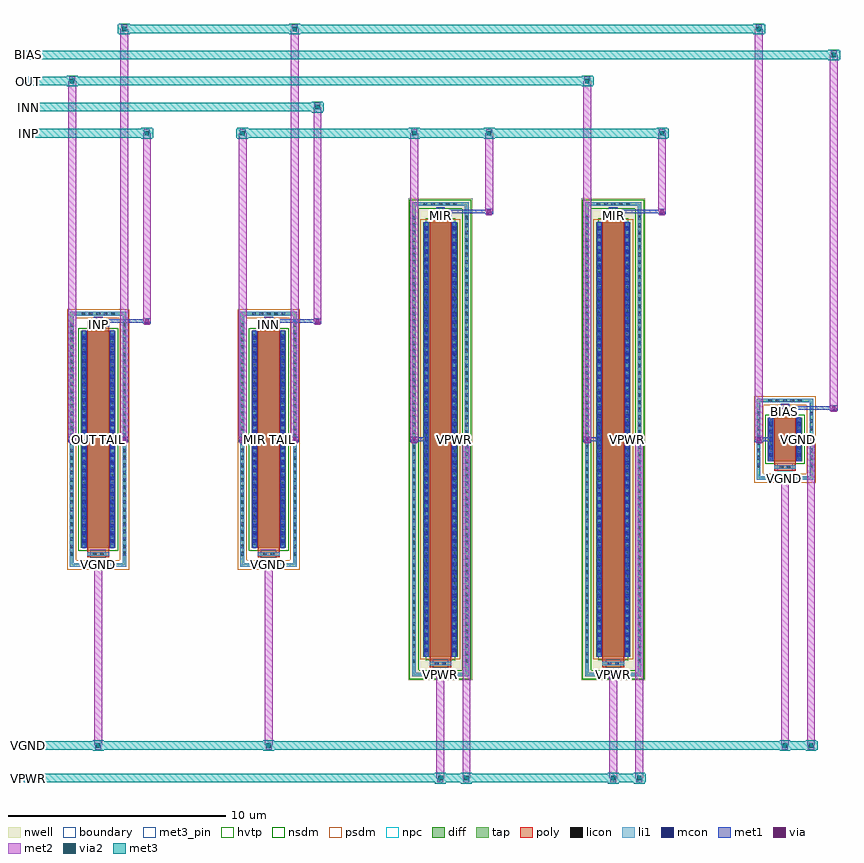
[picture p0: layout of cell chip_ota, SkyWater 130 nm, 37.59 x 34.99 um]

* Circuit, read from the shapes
.subckt chip_ota BIAS INN INP MIR OUT TAIL VGND VPWR
XM1 TAIL INP OUT VGND sky130_fd_pr__nfet_01v8 w=10 l=1
XM2 TAIL INN MIR VGND sky130_fd_pr__nfet_01v8 w=10 l=1
XM3 VGND BIAS TAIL VGND sky130_fd_pr__nfet_01v8 w=2 l=1
XM4 VPWR MIR MIR VPWR sky130_fd_pr__pfet_01v8_hvt w=20 l=1
XM5 VPWR MIR OUT VPWR sky130_fd_pr__pfet_01v8_hvt w=20 l=1
.ends

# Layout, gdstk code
import gdstk
lib = gdstk.Library(unit=1e-6, precision=1e-09)
def R(c, l, rs):  # rectangles x0, y0, x1, y1
    for r in rs: c.add(gdstk.rectangle(r[:2], r[2:], *l))
def A(c, l, x, y, w, h, nx, ny, dx, dy):  # array of equal rectangles
    R(c, l, [(x+i*dx, y+j*dy, x+i*dx+w, y+j*dy+h) for i in range(nx) for j in range(ny)])
nwell = (64, 20)
diff = (65, 20)
tap = (65, 44)
poly = (66, 20)
licon = (66, 44)
li1 = (67, 20)
mcon = (67, 44)
met1 = (68, 20)
via = (68, 44)
met2 = (69, 20)
via2 = (69, 44)
met3_pin = (70, 16)
met3 = (70, 20)
hvtp = (78, 44)
nsdm = (93, 44)
psdm = (94, 20)
npc = (95, 20)
boundary = (235, 4)

chip_ota = lib.new_cell('chip_ota')
R(chip_ota, nwell, [(15.7,-11.095,18.66,11.095), (23.66,-11.095,26.62,11.095)])
R(chip_ota, diff, [(16.39,-10,17.97,10), (24.35,-10,25.93,10), (0.635,-5,2.215,5), (8.485,-5,10.065,5), (32.255,-1,33.835,1)])
R(chip_ota, tap, [(15.88,-10.915,18.48,-10.745), (23.84,-10.915,26.44,-10.745), (15.88,-10.745,16.05,10.745), (18.31,-10.745,18.48,10.745), (23.84,-10.745,24.01,10.745), (26.27,-10.745,26.44,10.745), (0.125,-5.87,2.725,-5.7), (7.975,-5.87,10.575,-5.7), (0.125,-5.7,0.295,5.7), (2.555,-5.7,2.725,5.7), (7.975,-5.7,8.145,5.7), (10.405,-5.7,10.575,5.7), (31.745,-1.87,34.345,-1.7), (31.745,-1.7,31.915,1.7), (34.175,-1.7,34.345,1.7), (31.745,1.7,34.345,1.87), (0.125,5.7,2.725,5.87), (7.975,5.7,10.575,5.87), (15.88,10.745,18.48,10.915), (23.84,10.745,26.44,10.915)])
R(chip_ota, poly, [(16.68,-10.485,17.68,10.485), (24.64,-10.485,25.64,10.485), (0.925,-5.44,1.925,5.44), (8.775,-5.44,9.775,5.44), (32.545,-1.44,33.545,1.44)])
A(chip_ota, licon, 16.415, -10.915, 0.17, 0.17, 5, 2, 0.34, 21.66)
A(chip_ota, licon, 24.375, -10.915, 0.17, 0.17, 5, 2, 0.34, 21.66)
A(chip_ota, licon, 15.88, -10.285, 0.17, 0.17, 1, 61, 0, 0.34)
A(chip_ota, licon, 18.31, -10.285, 0.17, 0.17, 1, 61, 0, 0.34)
A(chip_ota, licon, 23.84, -10.285, 0.17, 0.17, 1, 61, 0, 0.34)
A(chip_ota, licon, 26.27, -10.285, 0.17, 0.17, 1, 61, 0, 0.34)
A(chip_ota, licon, 16.45, -9.775, 0.17, 0.17, 1, 58, 0, 0.34)
A(chip_ota, licon, 17.74, -9.775, 0.17, 0.17, 1, 58, 0, 0.34)
A(chip_ota, licon, 24.41, -9.775, 0.17, 0.17, 1, 58, 0, 0.34)
A(chip_ota, licon, 25.7, -9.775, 0.17, 0.17, 1, 58, 0, 0.34)
A(chip_ota, licon, 0.66, -5.87, 0.17, 0.17, 5, 2, 0.34, 11.57)
A(chip_ota, licon, 8.51, -5.87, 0.17, 0.17, 5, 2, 0.34, 11.57)
A(chip_ota, licon, 0.125, -5.355, 0.17, 0.17, 1, 32, 0, 0.34)
A(chip_ota, licon, 2.555, -5.355, 0.17, 0.17, 1, 32, 0, 0.34)
A(chip_ota, licon, 7.975, -5.355, 0.17, 0.17, 1, 32, 0, 0.34)
A(chip_ota, licon, 10.405, -5.355, 0.17, 0.17, 1, 32, 0, 0.34)
A(chip_ota, licon, 0.695, -4.845, 0.17, 0.17, 1, 29, 0, 0.34)
A(chip_ota, licon, 1.985, -4.845, 0.17, 0.17, 1, 29, 0, 0.34)
A(chip_ota, licon, 8.545, -4.845, 0.17, 0.17, 1, 29, 0, 0.34)
A(chip_ota, licon, 9.835, -4.845, 0.17, 0.17, 1, 29, 0, 0.34)
A(chip_ota, licon, 32.28, -1.87, 0.17, 0.17, 5, 2, 0.34, 3.57)
A(chip_ota, licon, 31.745, -1.275, 0.17, 0.17, 1, 8, 0, 0.34)
A(chip_ota, licon, 34.175, -1.275, 0.17, 0.17, 1, 8, 0, 0.34)
A(chip_ota, licon, 32.315, -0.935, 0.17, 0.17, 1, 6, 0, 0.34)
A(chip_ota, licon, 33.605, -0.935, 0.17, 0.17, 1, 6, 0, 0.34)
R(chip_ota, licon, [(16.925,-10.405,17.095,-10.235), (17.265,-10.405,17.435,-10.235), (24.885,-10.405,25.055,-10.235), (25.225,-10.405,25.395,-10.235), (1.17,-5.36,1.34,-5.19), (1.51,-5.36,1.68,-5.19), (9.02,-5.36,9.19,-5.19), (9.36,-5.36,9.53,-5.19), (32.79,-1.36,32.96,-1.19), (33.13,-1.36,33.3,-1.19), (32.79,1.19,32.96,1.36), (33.13,1.19,33.3,1.36), (1.17,5.19,1.34,5.36), (1.51,5.19,1.68,5.36), (9.02,5.19,9.19,5.36), (9.36,5.19,9.53,5.36), (16.925,10.235,17.095,10.405), (17.265,10.235,17.435,10.405), (24.885,10.235,25.055,10.405), (25.225,10.235,25.395,10.405)])
R(chip_ota, li1, [(15.88,-10.915,18.48,-10.745), (23.84,-10.915,26.44,-10.745), (15.88,-10.745,16.05,10.745), (18.31,-10.745,18.48,10.745), (23.84,-10.745,24.01,10.745), (26.27,-10.745,26.44,10.745), (16.68,-10.405,17.68,-10.235), (24.64,-10.405,25.64,-10.235), (16.45,-10.02,16.62,10.02), (17.74,-10.02,17.91,10.02), (24.41,-10.02,24.58,10.02), (25.7,-10.02,25.87,10.02), (0.125,-5.87,2.725,-5.7), (7.975,-5.87,10.575,-5.7), (0.125,-5.7,0.295,5.7), (2.555,-5.7,2.725,5.7), (7.975,-5.7,8.145,5.7), (10.405,-5.7,10.575,5.7), (0.925,-5.36,1.925,-5.19), (8.775,-5.36,9.775,-5.19), (0.695,-5.02,0.865,5.02), (1.985,-5.02,2.155,5.02), (8.545,-5.02,8.715,5.02), (9.835,-5.02,10.005,5.02), (31.745,-1.87,34.345,-1.7), (31.745,-1.7,31.915,1.7), (34.175,-1.7,34.345,1.7), (32.545,-1.36,33.545,-1.19), (32.315,-1.02,32.485,1.02), (33.605,-1.02,33.775,1.02), (32.545,1.19,33.545,1.36), (32.96,1.19,33.13,1.53), (31.745,1.7,34.345,1.87), (0.925,5.19,1.925,5.36), (1.34,5.19,1.51,5.53), (8.775,5.19,9.775,5.36), (9.19,5.19,9.36,5.53), (0.125,5.7,2.725,5.87), (7.975,5.7,10.575,5.87), (16.68,10.235,17.68,10.405), (17.095,10.235,17.265,10.575), (24.64,10.235,25.64,10.405), (25.055,10.235,25.225,10.575), (15.88,10.745,18.48,10.915), (23.84,10.745,26.44,10.915)])
A(chip_ota, mcon, 16.45, -9.805, 0.17, 0.17, 1, 55, 0, 0.36)
A(chip_ota, mcon, 17.74, -9.805, 0.17, 0.17, 1, 55, 0, 0.36)
A(chip_ota, mcon, 24.41, -9.805, 0.17, 0.17, 1, 55, 0, 0.36)
A(chip_ota, mcon, 25.7, -9.805, 0.17, 0.17, 1, 55, 0, 0.36)
A(chip_ota, mcon, 0.695, -4.765, 0.17, 0.17, 1, 27, 0, 0.36)
A(chip_ota, mcon, 1.985, -4.765, 0.17, 0.17, 1, 27, 0, 0.36)
A(chip_ota, mcon, 8.545, -4.765, 0.17, 0.17, 1, 27, 0, 0.36)
A(chip_ota, mcon, 9.835, -4.765, 0.17, 0.17, 1, 27, 0, 0.36)
A(chip_ota, mcon, 32.315, -0.805, 0.17, 0.17, 1, 5, 0, 0.36)
A(chip_ota, mcon, 33.605, -0.805, 0.17, 0.17, 1, 5, 0, 0.36)
R(chip_ota, mcon, [(17.095,-10.915,17.265,-10.745), (25.055,-10.915,25.225,-10.745), (1.34,-5.87,1.51,-5.7), (9.19,-5.87,9.36,-5.7), (32.96,-1.87,33.13,-1.7), (32.96,1.36,33.13,1.53), (1.34,5.36,1.51,5.53), (9.19,5.36,9.36,5.53), (17.095,10.405,17.265,10.575), (25.055,10.405,25.225,10.575)])
R(chip_ota, met1, [(16.98,-11.03,17.38,-10.63), (24.94,-11.03,25.34,-10.63), (17,-10.96,17.36,-10.7), (24.96,-10.96,25.32,-10.7), (16.42,-10,16.65,10), (17.71,-10,17.94,10), (24.38,-10,24.61,10), (25.67,-10,25.9,10), (1.225,-5.985,1.625,-5.585), (9.075,-5.985,9.475,-5.585), (1.245,-5.915,1.605,-5.655), (9.095,-5.915,9.455,-5.655), (0.665,-5,0.895,5), (1.955,-5,2.185,5), (8.515,-5,8.745,5), (9.805,-5,10.035,5), (32.845,-1.985,33.245,-1.585), (32.865,-1.915,33.225,-1.655), (32.285,-1,32.515,1), (33.575,-1,33.805,1), (0.045,-0.13,0.405,0.13), (2.445,-0.13,2.805,0.13), (7.895,-0.13,8.255,0.13), (10.295,-0.13,10.655,0.13), (15.8,-0.13,16.16,0.13), (18.2,-0.13,18.56,0.13), (23.76,-0.13,24.12,0.13), (26.16,-0.13,26.52,0.13), (31.665,-0.13,32.025,0.13), (34.065,-0.13,34.425,0.13), (32.845,1.245,33.245,1.645), (35.11,1.315,35.47,1.575), (1.225,5.245,1.625,5.645), (9.075,5.245,9.475,5.645), (3.49,5.315,3.85,5.575), (11.34,5.315,11.7,5.575), (16.98,10.29,17.38,10.69), (24.94,10.29,25.34,10.69), (19.245,10.36,19.605,10.62), (27.205,10.36,27.565,10.62)])
R(chip_ota, via, [(17.105,-10.905,17.255,-10.755), (25.065,-10.905,25.215,-10.755), (1.35,-5.86,1.5,-5.71), (9.2,-5.86,9.35,-5.71), (32.97,-1.86,33.12,-1.71), (0.15,-0.075,0.3,0.075), (2.55,-0.075,2.7,0.075), (8,-0.075,8.15,0.075), (10.4,-0.075,10.55,0.075), (15.905,-0.075,16.055,0.075), (18.305,-0.075,18.455,0.075), (23.865,-0.075,24.015,0.075), (26.265,-0.075,26.415,0.075), (31.77,-0.075,31.92,0.075), (34.17,-0.075,34.32,0.075), (35.215,1.37,35.365,1.52), (3.595,5.37,3.745,5.52), (11.445,5.37,11.595,5.52), (19.35,10.415,19.5,10.565), (27.31,10.415,27.46,10.565)])
R(chip_ota, met2, [(17.04,-15.785,17.32,-15.405), (18.24,-15.785,18.52,-15.405), (25,-15.785,25.28,-15.405), (26.2,-15.785,26.48,-15.405), (1.285,-14.285,1.565,-13.905), (9.135,-14.285,9.415,-13.905), (32.905,-14.285,33.185,-13.905), (34.105,-14.285,34.385,-13.905), (17.05,-11.01,17.31,-10.65), (25.01,-11.01,25.27,-10.65), (1.295,-5.965,1.555,-5.605), (9.145,-5.965,9.405,-5.605), (32.915,-1.965,33.175,-1.605), (0.095,-0.18,0.355,0.18), (2.495,-0.18,2.755,0.18), (7.945,-0.18,8.205,0.18), (10.345,-0.18,10.605,0.18), (15.85,-0.18,16.11,0.18), (18.25,-0.18,18.51,0.18), (23.81,-0.18,24.07,0.18), (26.21,-0.18,26.47,0.18), (31.715,-0.18,31.975,0.18), (34.115,-0.18,34.375,0.18), (35.16,1.265,35.42,1.625), (3.54,5.265,3.8,5.625), (11.39,5.265,11.65,5.625), (19.295,10.31,19.555,10.67), (27.255,10.31,27.515,10.67), (3.53,13.905,3.81,14.285), (7.935,13.905,8.215,14.285), (15.84,13.905,16.12,14.285), (19.285,13.905,19.565,14.285), (27.245,13.905,27.525,14.285), (11.38,15.105,11.66,15.485), (0.085,16.305,0.365,16.685), (23.8,16.305,24.08,16.685), (35.15,17.505,35.43,17.885), (2.485,18.705,2.765,19.085), (10.335,18.705,10.615,19.085), (31.705,18.705,31.985,19.085)])
R(chip_ota, via2, [(17.08,-15.695,17.28,-15.495), (18.28,-15.695,18.48,-15.495), (25.04,-15.695,25.24,-15.495), (26.24,-15.695,26.44,-15.495), (1.325,-14.195,1.525,-13.995), (9.175,-14.195,9.375,-13.995), (32.945,-14.195,33.145,-13.995), (34.145,-14.195,34.345,-13.995), (3.57,13.995,3.77,14.195), (7.975,13.995,8.175,14.195), (15.88,13.995,16.08,14.195), (19.325,13.995,19.525,14.195), (27.285,13.995,27.485,14.195), (11.42,15.195,11.62,15.395), (0.125,16.395,0.325,16.595), (23.84,16.395,24.04,16.595), (35.19,17.595,35.39,17.795), (2.525,18.795,2.725,18.995), (10.375,18.795,10.575,18.995), (31.745,18.795,31.945,18.995)])
A(chip_ota, met3_pin, -2, 13.895, 0.4, 0.4, 1, 4, 0, 1.2)
R(chip_ota, met3_pin, [(-2,-15.795,-1.6,-15.395), (-2,-14.295,-1.6,-13.895)])
R(chip_ota, met3, [(16.93,-15.845,17.43,-15.345), (18.13,-15.845,18.63,-15.345), (24.89,-15.845,25.39,-15.345), (26.09,-15.845,26.59,-15.345), (1.175,-14.345,1.675,-13.845), (9.025,-14.345,9.525,-13.845), (32.795,-14.345,33.295,-13.845), (33.995,-14.345,34.495,-13.845), (3.42,13.845,3.92,14.345), (7.825,13.845,8.325,14.345), (15.73,13.845,16.23,14.345), (19.175,13.845,19.675,14.345), (27.135,13.845,27.635,14.345), (11.27,15.045,11.77,15.545), (-0.025,16.245,0.475,16.745), (23.69,16.245,24.19,16.745), (35.04,17.445,35.54,17.945), (2.375,18.645,2.875,19.145), (10.225,18.645,10.725,19.145), (31.595,18.645,32.095,19.145)])
R(chip_ota, hvtp, [(16.5,-10.18,17.86,10.18), (24.46,-10.18,25.82,10.18)])
R(chip_ota, nsdm, [(15.755,-11.04,18.605,-10.62), (23.715,-11.04,26.565,-10.62), (15.755,-10.62,16.175,10.62), (18.185,-10.62,18.605,10.62), (23.715,-10.62,24.135,10.62), (26.145,-10.62,26.565,10.62), (0.51,-5.125,2.34,5.125), (8.36,-5.125,10.19,5.125), (32.13,-1.125,33.96,1.125), (15.755,10.62,18.605,11.04), (23.715,10.62,26.565,11.04)])
R(chip_ota, psdm, [(16.265,-10.125,18.095,10.125), (24.225,-10.125,26.055,10.125), (0,-5.995,2.85,-5.575), (7.85,-5.995,10.7,-5.575), (0,-5.575,0.42,5.575), (2.43,-5.575,2.85,5.575), (7.85,-5.575,8.27,5.575), (10.28,-5.575,10.7,5.575), (31.62,-1.995,34.47,-1.575), (31.62,-1.575,32.04,1.575), (34.05,-1.575,34.47,1.575), (31.62,1.575,34.47,1.995), (0,5.575,2.85,5.995), (7.85,5.575,10.7,5.995)])
R(chip_ota, npc, [(16.825,-10.505,17.535,-10.135), (24.785,-10.505,25.495,-10.135), (1.07,-5.46,1.78,-5.09), (8.92,-5.46,9.63,-5.09), (32.69,-1.46,33.4,-1.09), (32.69,1.09,33.4,1.46), (1.07,5.09,1.78,5.46), (8.92,5.09,9.63,5.46), (16.825,10.135,17.535,10.505), (24.785,10.135,25.495,10.505)])
R(chip_ota, boundary, [(15.965,-10.83,18.395,10.83), (23.925,-10.83,26.355,10.83), (0.21,-5.785,2.64,5.785), (8.06,-5.785,10.49,5.785), (31.83,-1.785,34.26,1.785)])
chip_ota.add(gdstk.FlexPath([(24.495,0),(23.94,0)], 0.17, ends="flush", simple_path=True, layer=68, datatype=20))  # met1
chip_ota.add(gdstk.FlexPath([(17.18,-10.83),(17.18,-10.83)], 0.17, ends="flush", simple_path=True, layer=68, datatype=20))  # met1
chip_ota.add(gdstk.FlexPath([(16.535,0),(15.98,0)], 0.17, ends="flush", simple_path=True, layer=68, datatype=20))  # met1
chip_ota.add(gdstk.FlexPath([(25.785,0),(26.34,0)], 0.17, ends="flush", simple_path=True, layer=68, datatype=20))  # met1
chip_ota.add(gdstk.FlexPath([(33.045,1.445),(35.29,1.445)], 0.17, ends="flush", simple_path=True, layer=68, datatype=20))  # met1
chip_ota.add(gdstk.FlexPath([(17.18,10.49),(19.425,10.49)], 0.17, ends="flush", simple_path=True, layer=68, datatype=20))  # met1
chip_ota.add(gdstk.FlexPath([(25.14,10.49),(27.385,10.49)], 0.17, ends="flush", simple_path=True, layer=68, datatype=20))  # met1
chip_ota.add(gdstk.FlexPath([(33.69,0),(34.245,0)], 0.17, ends="flush", simple_path=True, layer=68, datatype=20))  # met1
chip_ota.add(gdstk.FlexPath([(0.78,0),(0.225,0)], 0.17, ends="flush", simple_path=True, layer=68, datatype=20))  # met1
chip_ota.add(gdstk.FlexPath([(17.825,0),(18.38,0)], 0.17, ends="flush", simple_path=True, layer=68, datatype=20))  # met1
chip_ota.add(gdstk.FlexPath([(32.4,0),(31.845,0)], 0.17, ends="flush", simple_path=True, layer=68, datatype=20))  # met1
chip_ota.add(gdstk.FlexPath([(1.425,-5.785),(1.425,-5.785)], 0.17, ends="flush", simple_path=True, layer=68, datatype=20))  # met1
chip_ota.add(gdstk.FlexPath([(1.425,5.445),(3.67,5.445)], 0.17, ends="flush", simple_path=True, layer=68, datatype=20))  # met1
chip_ota.add(gdstk.FlexPath([(2.07,0),(2.625,0)], 0.17, ends="flush", simple_path=True, layer=68, datatype=20))  # met1
chip_ota.add(gdstk.FlexPath([(33.045,-1.785),(33.045,-1.785)], 0.17, ends="flush", simple_path=True, layer=68, datatype=20))  # met1
chip_ota.add(gdstk.FlexPath([(9.275,5.445),(11.52,5.445)], 0.17, ends="flush", simple_path=True, layer=68, datatype=20))  # met1
chip_ota.add(gdstk.FlexPath([(8.63,0),(8.075,0)], 0.17, ends="flush", simple_path=True, layer=68, datatype=20))  # met1
chip_ota.add(gdstk.FlexPath([(25.14,-10.83),(25.14,-10.83)], 0.17, ends="flush", simple_path=True, layer=68, datatype=20))  # met1
chip_ota.add(gdstk.FlexPath([(9.92,0),(10.475,0)], 0.17, ends="flush", simple_path=True, layer=68, datatype=20))  # met1
chip_ota.add(gdstk.FlexPath([(9.275,-5.785),(9.275,-5.785)], 0.17, ends="flush", simple_path=True, layer=68, datatype=20))  # met1
chip_ota.add(gdstk.FlexPath([(18.38,0),(18.38,-15.595)], 0.36, ends="flush", simple_path=True, layer=69, datatype=20))  # met2
chip_ota.add(gdstk.FlexPath([(15.98,0),(15.98,14.095)], 0.36, ends="flush", simple_path=True, layer=69, datatype=20))  # met2
chip_ota.add(gdstk.FlexPath([(23.94,0),(23.94,16.495)], 0.36, ends="flush", simple_path=True, layer=69, datatype=20))  # met2
chip_ota.add(gdstk.FlexPath([(9.275,-5.785),(9.275,-14.095)], 0.36, ends="flush", simple_path=True, layer=69, datatype=20))  # met2
chip_ota.add(gdstk.FlexPath([(2.625,0),(2.625,18.895)], 0.36, ends="flush", simple_path=True, layer=69, datatype=20))  # met2
chip_ota.add(gdstk.FlexPath([(10.475,0),(10.475,18.895)], 0.36, ends="flush", simple_path=True, layer=69, datatype=20))  # met2
chip_ota.add(gdstk.FlexPath([(31.845,0),(31.845,18.895)], 0.36, ends="flush", simple_path=True, layer=69, datatype=20))  # met2
chip_ota.add(gdstk.FlexPath([(34.245,0),(34.245,-14.095)], 0.36, ends="flush", simple_path=True, layer=69, datatype=20))  # met2
chip_ota.add(gdstk.FlexPath([(35.29,1.445),(35.29,17.695)], 0.36, ends="flush", simple_path=True, layer=69, datatype=20))  # met2
chip_ota.add(gdstk.FlexPath([(0.225,0),(0.225,16.495)], 0.36, ends="flush", simple_path=True, layer=69, datatype=20))  # met2
chip_ota.add(gdstk.FlexPath([(17.18,-10.83),(17.18,-15.595)], 0.36, ends="flush", simple_path=True, layer=69, datatype=20))  # met2
chip_ota.add(gdstk.FlexPath([(3.67,5.445),(3.67,14.095)], 0.36, ends="flush", simple_path=True, layer=69, datatype=20))  # met2
chip_ota.add(gdstk.FlexPath([(33.045,-1.785),(33.045,-14.095)], 0.36, ends="flush", simple_path=True, layer=69, datatype=20))  # met2
chip_ota.add(gdstk.FlexPath([(25.14,-10.83),(25.14,-15.595)], 0.36, ends="flush", simple_path=True, layer=69, datatype=20))  # met2
chip_ota.add(gdstk.FlexPath([(26.34,0),(26.34,-15.595)], 0.36, ends="flush", simple_path=True, layer=69, datatype=20))  # met2
chip_ota.add(gdstk.FlexPath([(27.385,10.49),(27.385,14.095)], 0.36, ends="flush", simple_path=True, layer=69, datatype=20))  # met2
chip_ota.add(gdstk.FlexPath([(11.52,5.445),(11.52,15.295)], 0.36, ends="flush", simple_path=True, layer=69, datatype=20))  # met2
chip_ota.add(gdstk.FlexPath([(1.425,-5.785),(1.425,-14.095)], 0.36, ends="flush", simple_path=True, layer=69, datatype=20))  # met2
chip_ota.add(gdstk.FlexPath([(8.075,0),(8.075,14.095)], 0.36, ends="flush", simple_path=True, layer=69, datatype=20))  # met2
chip_ota.add(gdstk.FlexPath([(19.425,10.49),(19.425,14.095)], 0.36, ends="flush", simple_path=True, layer=69, datatype=20))  # met2
chip_ota.add(gdstk.FlexPath([(-1.8,14.095),(3.97,14.095)], 0.4, ends="flush", simple_path=True, layer=70, datatype=20))  # met3
chip_ota.add(gdstk.FlexPath([(-1.8,15.295),(11.82,15.295)], 0.4, ends="flush", simple_path=True, layer=70, datatype=20))  # met3
chip_ota.add(gdstk.FlexPath([(-1.8,16.495),(24.24,16.495)], 0.4, ends="flush", simple_path=True, layer=70, datatype=20))  # met3
chip_ota.add(gdstk.FlexPath([(-1.8,-14.095),(34.545,-14.095)], 0.4, ends="flush", simple_path=True, layer=70, datatype=20))  # met3
chip_ota.add(gdstk.FlexPath([(-1.8,17.695),(35.59,17.695)], 0.4, ends="flush", simple_path=True, layer=70, datatype=20))  # met3
chip_ota.add(gdstk.FlexPath([(2.325,18.895),(32.145,18.895)], 0.4, ends="flush", simple_path=True, layer=70, datatype=20))  # met3
chip_ota.add(gdstk.FlexPath([(7.775,14.095),(27.685,14.095)], 0.4, ends="flush", simple_path=True, layer=70, datatype=20))  # met3
chip_ota.add(gdstk.FlexPath([(-1.8,-15.595),(26.64,-15.595)], 0.4, ends="flush", simple_path=True, layer=70, datatype=20))  # met3
chip_ota.add(gdstk.Label('VPWR', (17.825,0), layer=67, texttype=5))
chip_ota.add(gdstk.Label('MIR', (16.535,0), layer=67, texttype=5))
chip_ota.add(gdstk.Label('VPWR', (17.18,-10.83), layer=67, texttype=5))
chip_ota.add(gdstk.Label('INN', (9.275,5.275), layer=67, texttype=5))
chip_ota.add(gdstk.Label('INP', (1.425,5.275), layer=67, texttype=5))
chip_ota.add(gdstk.Label('VGND', (33.045,-1.785), layer=67, texttype=5))
chip_ota.add(gdstk.Label('TAIL', (9.92,0), layer=67, texttype=5))
chip_ota.add(gdstk.Label('BIAS', (33.045,1.275), layer=67, texttype=5))
chip_ota.add(gdstk.Label('VGND', (1.425,-5.785), layer=67, texttype=5))
chip_ota.add(gdstk.Label('VGND', (33.69,0), layer=67, texttype=5))
chip_ota.add(gdstk.Label('TAIL', (32.4,0), layer=67, texttype=5))
chip_ota.add(gdstk.Label('MIR', (17.18,10.32), layer=67, texttype=5))
chip_ota.add(gdstk.Label('VPWR', (25.14,-10.83), layer=67, texttype=5))
chip_ota.add(gdstk.Label('MIR', (25.14,10.32), layer=67, texttype=5))
chip_ota.add(gdstk.Label('VPWR', (25.785,0), layer=67, texttype=5))
chip_ota.add(gdstk.Label('OUT', (24.495,0), layer=67, texttype=5))
chip_ota.add(gdstk.Label('OUT', (0.78,0), layer=67, texttype=5))
chip_ota.add(gdstk.Label('TAIL', (2.07,0), layer=67, texttype=5))
chip_ota.add(gdstk.Label('MIR', (8.63,0), layer=67, texttype=5))
chip_ota.add(gdstk.Label('VGND', (9.275,-5.785), layer=67, texttype=5))
chip_ota.add(gdstk.Label('INP', (-1.8,14.095), layer=70, texttype=5))
chip_ota.add(gdstk.Label('BIAS', (-1.8,17.695), layer=70, texttype=5))
chip_ota.add(gdstk.Label('INN', (-1.8,15.295), layer=70, texttype=5))
chip_ota.add(gdstk.Label('OUT', (-1.8,16.495), layer=70, texttype=5))
chip_ota.add(gdstk.Label('VGND', (-1.8,-14.095), layer=70, texttype=5))
chip_ota.add(gdstk.Label('VPWR', (-1.8,-15.595), layer=70, texttype=5))

lib.write_gds('chip_ota.gds')
